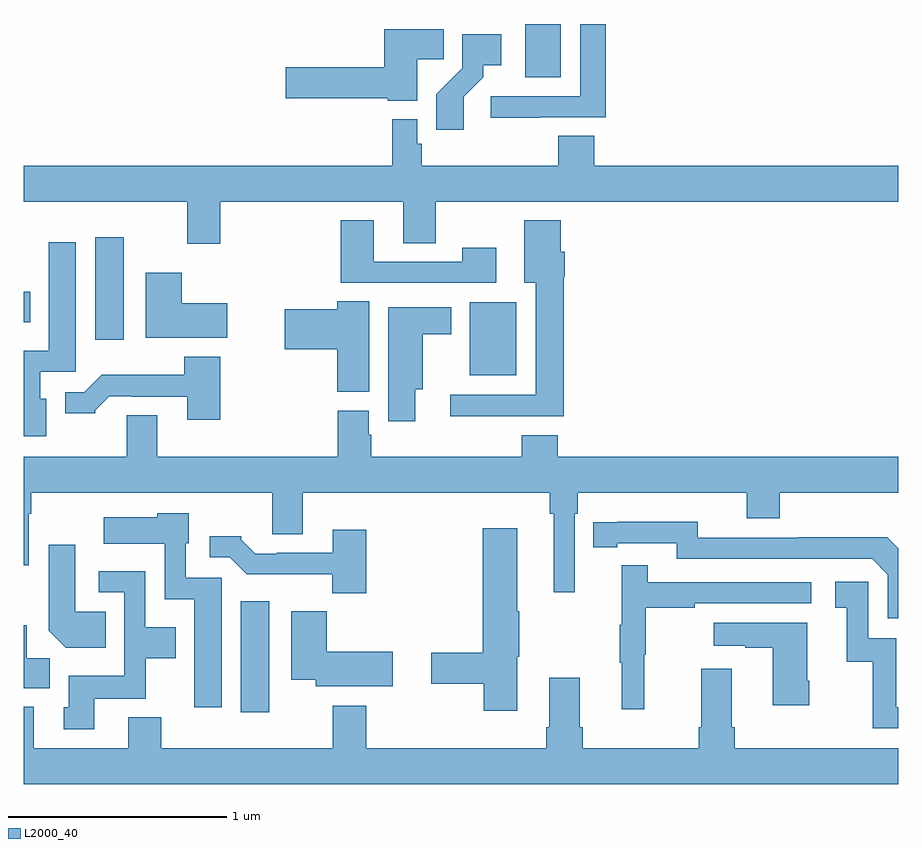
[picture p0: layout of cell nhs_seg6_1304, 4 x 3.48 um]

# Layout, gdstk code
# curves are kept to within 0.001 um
import gdstk
lib = gdstk.Library(unit=1e-6, precision=1e-09)
def R(c, l, rs):  # rectangles x0, y0, x1, y1
    for r in rs: c.add(gdstk.rectangle(r[:2], r[2:], *l))
def P(c, l, *ps):  # polygons
    for p in ps: c.add(gdstk.Polygon(p, *l))
L2000_40 = (2000, 40)

nhs_seg6_1304 = lib.new_cell('nhs_seg6_1304')
R(nhs_seg6_1304, L2000_40, [(191.993,926.352,192.124,926.86), (193.04,927.893,193.252,928.228), (191.327,928.056,191.458,928.525), (191,928.136,191.029,928.276), (193.295,929.256,193.456,929.5)])
P(nhs_seg6_1304, L2000_40, [(193.361,929.073),(193.661,929.073),(193.661,929.5),(193.545,929.5),(193.545,929.169),(193.137,929.169),(193.137,929.071),(193.361,929.071)],
  [(192.799,929.338),(192.92,929.338),(192.92,929.476),(192.65,929.476),(192.65,929.303),(192.198,929.303),(192.198,929.161),(192.666,929.161),(192.666,929.15),(192.799,929.15)],
  [(193.012,929.167),(193.102,929.257),(193.102,929.312),(193.183,929.312),(193.183,929.452),(193.005,929.452),(193.005,929.297),(192.886,929.178),(192.886,929.016),(193.012,929.016)],
  [(191.9,928.688),(192.737,928.688),(192.737,928.498),(192.885,928.498),(192.885,928.688),(195,928.688),(195,928.852),(193.61,928.852),(193.61,928.988),(193.445,928.988),(193.445,928.852),(192.821,928.852),(192.821,928.953),(192.801,928.953),(192.801,929.065),(192.685,929.065),(192.685,928.852),(191,928.852),(191,928.688),(191.747,928.688),(191.747,928.494),(191.9,928.494)],
  [(193.162,928.477),(193.006,928.477),(193.006,928.413),(192.601,928.413),(192.601,928.603),(192.449,928.603),(192.449,928.317),(193.162,928.317)],
  [(193.469,928.344),(193.474,928.344),(193.474,928.458),(193.456,928.458),(193.456,928.603),(193.289,928.603),(193.289,928.316),(193.343,928.316),(193.343,927.804),(192.951,927.804),(192.951,927.707),(193.469,927.707)],
  [(191.104,927.786),(191.076,927.786),(191.076,927.909),(191.239,927.909),(191.239,928.501),(191.114,928.501),(191.114,928.006),(191,928.006),(191,927.614),(191.104,927.614)],
  [(191.932,928.222),(191.722,928.222),(191.722,928.363),(191.558,928.363),(191.558,928.064),(191.932,928.064)],
  [(192.58,928.232),(192.434,928.232),(192.434,928.196),(192.195,928.196),(192.195,928.013),(192.434,928.013),(192.434,927.817),(192.58,927.817)],
  [(192.79,927.83),(192.826,927.83),(192.826,928.082),(192.955,928.082),(192.955,928.204),(192.668,928.204),(192.668,927.684),(192.79,927.684)],
  [(191.9,927.979),(191.735,927.979),(191.735,927.895),(191.356,927.895),(191.277,927.816),(191.189,927.816),(191.189,927.719),(191.328,927.719),(191.328,927.734),(191.392,927.798),(191.491,927.798),(191.491,927.795),(191.747,927.795),(191.747,927.69),(191.9,927.69)],
  [(193.521,927.26),(193.535,927.26),(193.535,927.356),(194.306,927.356),(194.306,927.239),(194.459,927.239),(194.459,927.356),(195,927.356),(195,927.52),(193.442,927.52),(193.442,927.619),(193.277,927.619),(193.277,927.52),(192.59,927.52),(192.59,927.621),(192.577,927.621),(192.577,927.732),(192.437,927.732),(192.437,927.52),(191.611,927.52),(191.611,927.71),(191.471,927.71),(191.471,927.52),(191,927.52),(191,927.024),(191.022,927.024),(191.022,927.26),(191.035,927.26),(191.035,927.356),(192.137,927.356),(192.137,927.166),(192.277,927.166),(192.277,927.356),(193.405,927.356),(193.405,927.26),(193.424,927.26),(193.424,926.901),(193.521,926.901)],
  [(191.905,926.967),(191.742,926.967),(191.742,927.126),(191.755,927.126),(191.755,927.262),(191.61,927.262),(191.61,927.244),(191.367,927.244),(191.367,927.122),(191.646,927.122),(191.646,926.87),(191.78,926.87),(191.78,926.376),(191.905,926.376)],
  [(195,927.102),(194.95,927.152),(194.542,927.152),(194.542,927.15),(194.082,927.15),(194.082,927.223),(193.606,927.222),(193.606,927.106),(193.714,927.106),(193.714,927.126),(193.986,927.126),(193.986,927.054),(194.88,927.054),(194.952,926.982),(194.952,926.781),(195,926.781)],
  [(193.258,926.607),(193.266,926.607),(193.266,926.813),(193.258,926.813),(193.258,927.193),(193.1,927.193),(193.1,926.624),(192.864,926.624),(192.864,926.482),(193.105,926.482),(193.105,926.358),(193.258,926.358)],
  [(192.566,927.187),(192.413,927.187),(192.413,927.081),(192.157,927.081),(192.157,927.078),(192.058,927.078),(191.994,927.142),(191.994,927.157),(191.85,927.157),(191.85,927.06),(191.943,927.06),(192.019,926.984),(192.411,926.984),(192.411,926.897),(192.566,926.897)],
  [(191.375,926.812),(191.236,926.812),(191.236,927.118),(191.114,927.118),(191.114,926.726),(191.192,926.648),(191.375,926.648)],
  [(193.838,926.616),(193.846,926.616),(193.846,926.83),(194.069,926.83),(194.069,926.85),(194.602,926.85),(194.602,926.946),(193.853,926.946),(193.853,927.025),(193.736,927.025),(193.736,926.753),(193.725,926.753),(193.725,926.579),(193.736,926.579),(193.736,926.367),(193.838,926.367)],
  [(191.323,926.414),(191.559,926.414),(191.559,926.6),(191.695,926.6),(191.695,926.74),(191.556,926.74),(191.556,926.997),(191.343,926.997),(191.343,926.901),(191.46,926.901),(191.46,926.518),(191.207,926.518),(191.207,926.376),(191.183,926.376),(191.183,926.274),(191.323,926.274)],
  [(195,926.376),(194.991,926.376),(194.991,926.691),(194.862,926.691),(194.862,926.95),(194.712,926.95),(194.712,926.829),(194.765,926.829),(194.765,926.583),(194.883,926.583),(194.883,926.28),(195,926.28)],
  [(192.688,926.629),(192.386,926.629),(192.386,926.815),(192.224,926.815),(192.224,926.501),(192.335,926.501),(192.335,926.471),(192.688,926.471)],
  [(194.592,926.497),(194.584,926.497),(194.584,926.761),(194.157,926.761),(194.157,926.657),(194.3,926.657),(194.3,926.647),(194.426,926.647),(194.426,926.385),(194.592,926.385)],
  [(191.119,926.6),(191.014,926.6),(191.014,926.749),(191,926.749),(191,926.462),(191.119,926.462)],
  [(195,926.188),(194.252,926.188),(194.252,926.284),(194.239,926.284),(194.239,926.551),(194.099,926.551),(194.099,926.284),(194.087,926.284),(194.087,926.188),(193.556,926.188),(193.556,926.284),(193.543,926.284),(193.543,926.509),(193.403,926.509),(193.403,926.284),(193.391,926.284),(193.391,926.188),(192.566,926.188),(192.566,926.383),(192.413,926.383),(192.413,926.188),(191.63,926.188),(191.63,926.329),(191.477,926.329),(191.477,926.188),(191.047,926.188),(191.047,926.377),(191,926.377),(191,926.024),(195,926.024)])

lib.write_gds('nhs_seg6_1304.gds')
